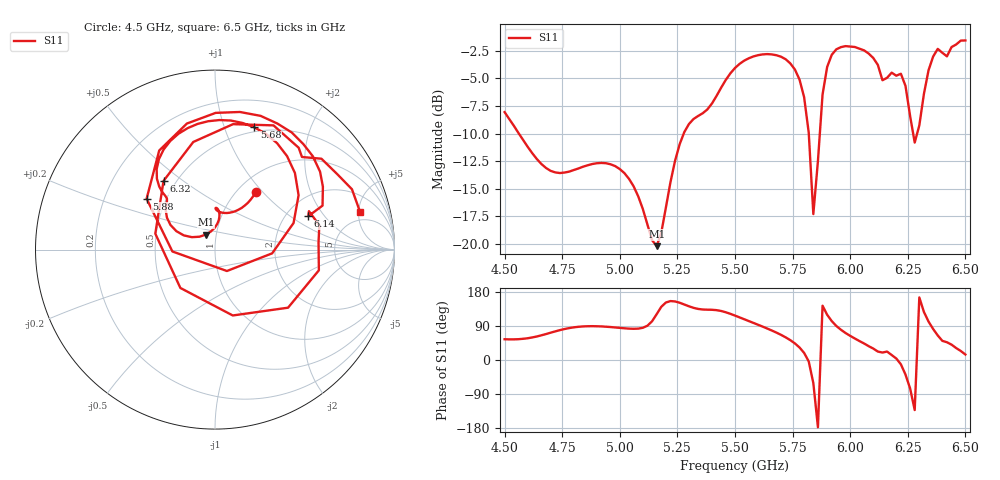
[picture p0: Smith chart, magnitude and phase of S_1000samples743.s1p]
! TOUCHSTONE file generated by CST MICROWAVE STUDIO
! Date and time: Sat Oct 29 05:50:56 2022
! Project name: L.cst
! Parameters = {Di=1.27; Epsilon_r=1.56; InnerDiameter=1.27; Length=2; Lf=10; Lg=60; OuterConductorThickness=0.2921; OuterDiameter=3.6; Wf=3; Wp=41.2; de=1.5; df=6.8; g=0.8; gx=1.8268; gy=1.87585; h=2.34; hf=1.524; px=14.2093; py=12.8459; w=9.7; wx=12.3825; wy=10.97}
! Header version: 2018
! Port assignment regex: !\s*Touchstone port\s*([0-9]+)\s*=\s*(CST MWS port|CST DS port)\s*([0-9]+|Zmin|Zmax)\s*\(\"(.*)\"\)(\s*mode\s*([0-9]+))?.*
! Touchstone port assignment:
! Touchstone port 1 = CST MWS port 1 ("")
# GHz S DB R 50
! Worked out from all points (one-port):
!   101 points, 4.5 GHz to 6.5 GHz, reference 50 ohm
!   lowest |S11| = -20.2 dB at 5.16 GHz (marker M1), VSWR 1.22, Z = 44.6 + j7.55 ohm
!   |S11| at or under -10 dB: 4.562 GHz to 5.278 GHz (715.7 MHz wide, 14.5 % of centre); 5.82 GHz to 5.868 GHz (48.02 MHz wide, 0.822 % of centre); 6.273237 GHz to 6.290513 GHz (17.28 MHz wide, 0.275 % of centre)
!   S11 on the Smith chart (normalised r, x): 4.5 GHz: 1.20, +0.92; 5.68 GHz: 0.45, +1.27; 5.88 GHz: 0.39, +0.29; 6.14 GHz: 2.62, +1.40; 6.32 GHz: 0.43, +0.42; 6.5 GHz: 3.78, +5.21
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4.5  -8.06 54.8
4.76  -13.53 81.7
5  -13.22 84.8
5.16  -20.20 120.9
5.26  -10.95 151.0
5.5  -4.06 117.2
5.6  -2.90 93.0
5.68  -2.91 72.2
5.76  -4.20 43.8
5.8  -6.70 18.7
5.82  -9.92 -3.7
5.84  -17.30 -60.9
5.86  -12.48 -177.5
5.88  -6.47 143.4
5.92  -2.86 102.6
6  -2.12 63.7
6.08  -2.75 36.6
6.14  -5.17 19.7
6.16  -4.95 22.3
6.22  -4.58 -11.3
6.24  -5.68 -38.5
6.26  -8.40 -74.9
6.28  -10.82 -132.1
6.3  -9.26 165.1
6.32  -6.40 126.8
6.34  -4.27 101.4
6.38  -2.33 64.8
6.5  -1.56 14.5
